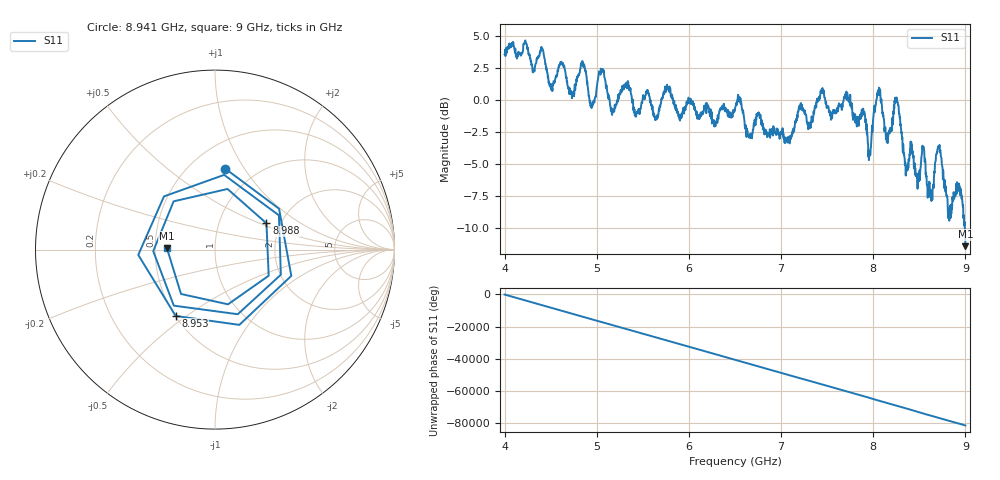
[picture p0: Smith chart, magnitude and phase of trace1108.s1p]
! Created with skrf 1.8.0 (http://scikit-rf.org).
# Hz S RI R 50.0
!freq ReS11 ImS11
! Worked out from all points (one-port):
!   1601 points, 4 GHz to 9 GHz, reference 50 ohm
!   lowest |S11| = -11.5 dB at 9 GHz (marker M1), VSWR 1.73, Z = 28.9 + j0.42 ohm
!   |S11| at or under -10 dB: 8.993549 GHz to end of sweep
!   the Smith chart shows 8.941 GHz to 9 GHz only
!   S11 on the Smith chart (normalised r, x): 8.941 GHz: 0.73, +0.83; 8.953 GHz: 0.50, -0.46; 8.988 GHz: 1.69, +0.55; 9 GHz: 0.58, +0.01
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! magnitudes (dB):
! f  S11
! 4 GHz  3.5
! 4.406 GHz  3.9
! 4.503 GHz  0.9
! 4.625 GHz  2.9
! 4.728 GHz  0.5
! 4.853 GHz  2.9
! 4.947 GHz  -0.4
! 5.047 GHz  2.4
! 5.166 GHz  -1.2
! 5.25 GHz  0.4
! 5.875 GHz  -1.1
! 6.5 GHz  -0.7
! 7.125 GHz  -2.6
! 7.444 GHz  0.7
! 7.75 GHz  0.4
! 7.956 GHz  -4.4
! 8.053 GHz  0.7
! 8.153 GHz  -2.9
! 8.25 GHz  -0.1
! 8.375 GHz  -5.5
! 8.541 GHz  -3.8
! 8.631 GHz  -7.9
! 8.709 GHz  -3.6
! 8.831 GHz  -9.0
! 8.941 GHz  -6.8
! 8.953 GHz  -7.3
! 8.988 GHz  -9.8
! 9 GHz  -11.5
